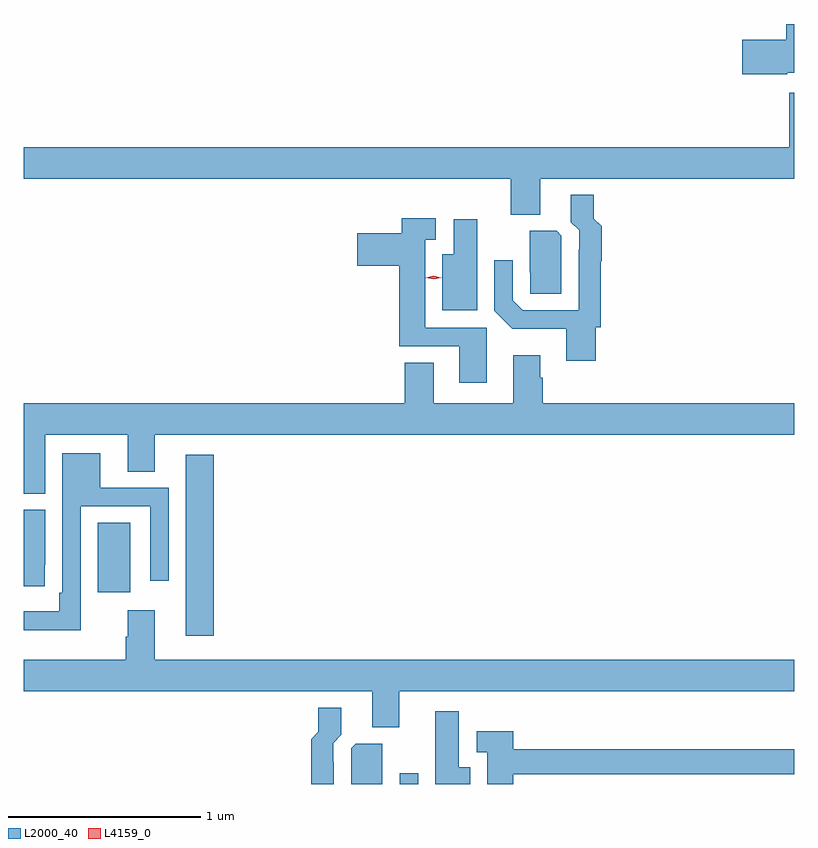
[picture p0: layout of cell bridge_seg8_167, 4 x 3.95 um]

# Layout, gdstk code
import gdstk
lib = gdstk.Library(unit=1e-6, precision=1e-09)
def R(c, l, rs):  # rectangles x0, y0, x1, y1
    for r in rs: c.add(gdstk.rectangle(r[:2], r[2:], *l))
def P(c, l, *ps):  # polygons
    for p in ps: c.add(gdstk.Polygon(p, *l))
L2000_40 = (2000, 40)
L4159_0 = (4159, 0)

bridge_seg8_167 = lib.new_cell('bridge_seg8_167')
R(bridge_seg8_167, L2000_40, [(553.407,1085.383,553.503,1085.44), (552.296,1086.153,552.443,1087.093), (551.84,1086.378,552.007,1086.74)])
P(bridge_seg8_167, L2000_40, [(555.42,1089.077),(555.456,1089.077),(555.456,1089.331),(555.416,1089.331),(555.416,1089.248),(555.186,1089.248),(555.186,1089.07),(555.42,1089.07)],
  [(554.137,1088.528),(555.456,1088.528),(555.456,1088.974),(555.432,1088.974),(555.432,1088.692),(551.456,1088.692),(551.456,1088.528),(553.985,1088.528),(553.985,1088.341),(554.137,1088.341)],
  [(554.426,1087.755),(554.453,1087.755),(554.453,1088.098),(554.456,1088.098),(554.456,1088.28),(554.417,1088.319),(554.417,1088.443),(554.297,1088.443),(554.297,1088.302),(554.34,1088.259),(554.34,1088.159),(554.337,1088.159),(554.337,1087.845),(554.046,1087.845),(553.995,1087.896),(553.995,1088.104),(553.899,1088.104),(553.899,1087.842),(553.993,1087.748),(554.273,1087.748),(554.273,1087.581),(554.426,1087.581)],
  [(553.861,1087.752),(553.54,1087.752),(553.54,1088.211),(553.594,1088.211),(553.594,1088.321),(553.418,1088.321),(553.418,1088.245),(553.188,1088.245),(553.188,1088.075),(553.406,1088.075),(553.406,1087.656),(553.718,1087.656),(553.718,1087.467),(553.861,1087.467)],
  [(553.81,1088.317),(553.688,1088.317),(553.688,1088.134),(553.628,1088.134),(553.628,1087.844),(553.81,1087.844)],
  [(554.247,1088.232),(554.223,1088.256),(554.084,1088.256),(554.084,1088.041),(554.085,1088.041),(554.085,1087.93),(554.247,1087.93)],
  [(551.566,1087.196),(551.996,1087.196),(551.996,1087.006),(552.136,1087.006),(552.136,1087.196),(555.456,1087.196),(555.456,1087.36),(554.15,1087.36),(554.15,1087.493),(554.137,1087.493),(554.137,1087.609),(553.997,1087.609),(553.997,1087.36),(553.585,1087.36),(553.585,1087.571),(553.433,1087.571),(553.433,1087.36),(551.456,1087.36),(551.456,1086.892),(551.566,1086.892)],
  [(551.751,1086.825),(552.111,1086.825),(552.111,1086.438),(552.207,1086.438),(552.207,1086.921),(551.851,1086.921),(551.851,1087.102),(551.655,1087.102),(551.655,1086.376),(551.639,1086.376),(551.639,1086.28),(551.456,1086.28),(551.456,1086.182),(551.751,1086.182)],
  [(551.565,1086.523),(551.566,1086.523),(551.566,1086.807),(551.456,1086.807),(551.456,1086.411),(551.565,1086.411)],
  [(553.405,1085.864),(555.456,1085.864),(555.456,1086.028),(552.136,1086.028),(552.136,1086.286),(551.996,1086.286),(551.996,1086.149),(551.984,1086.149),(551.984,1086.028),(551.456,1086.028),(551.456,1085.864),(553.265,1085.864),(553.265,1085.677),(553.405,1085.677)],
  [(553.065,1085.495),(553.062,1085.495),(553.062,1085.595),(553.105,1085.638),(553.105,1085.779),(552.985,1085.779),(552.985,1085.655),(552.947,1085.616),(552.947,1085.434),(552.949,1085.434),(552.949,1085.383),(553.065,1085.383)],
  [(553.774,1085.47),(553.714,1085.47),(553.714,1085.761),(553.592,1085.761),(553.592,1085.383),(553.774,1085.383)],
  [(553.997,1085.434),(555.456,1085.434),(555.456,1085.563),(553.997,1085.563),(553.997,1085.657),(553.809,1085.657),(553.809,1085.547),(553.862,1085.547),(553.862,1085.383),(553.997,1085.383)],
  [(553.318,1085.592),(553.179,1085.592),(553.155,1085.568),(553.155,1085.383),(553.318,1085.383)])
P(bridge_seg8_167, L4159_0, [(553.584,1088.004),(553.544,1088.014),(553.543,1088.014),(553.544,1088.014),(553.584,1088.024),(553.624,1088.014),(553.624,1088.014),(553.624,1088.014)])

lib.write_gds('bridge_seg8_167.gds')
